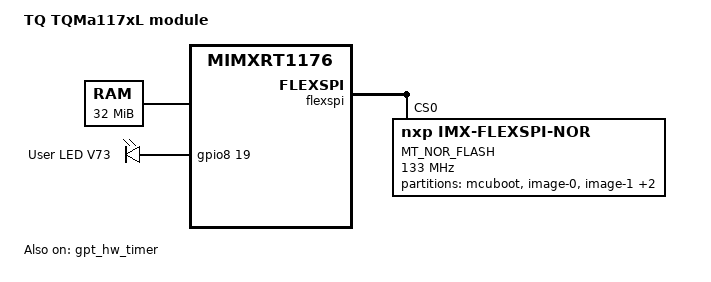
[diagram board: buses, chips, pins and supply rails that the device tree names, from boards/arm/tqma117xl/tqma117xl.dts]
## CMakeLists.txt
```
cmake_minimum_required(VERSION 3.20.0)

list(APPEND BOARD_ROOT ${CMAKE_CURRENT_SOURCE_DIR})
find_package(Zephyr REQUIRED HINTS $ENV{ZEPHYR_BASE})
project(tq-board)

FILE(GLOB app_sources src/*.c)
target_sources(app PRIVATE ${app_sources})
```

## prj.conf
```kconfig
CONFIG_GPIO=y
CONFIG_EXTRA_EXCEPTION_INFO=y
```

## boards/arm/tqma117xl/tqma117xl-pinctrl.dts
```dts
#include <nxp/nxp_imx/rt/mimxrt1176cvm8a-pinctrl.dtsi>

&pinctrl {
  pinmux_flexspi1: pinmux_flexspi1 {
    group0 {
      pinmux = <&iomuxc_gpio_ad_17_flexspi1_a_dqs>,
          <&iomuxc_gpio_ad_18_flexspi1_a_ss0_b>,
          <&iomuxc_gpio_ad_19_flexspi1_a_sclk>,
          <&iomuxc_gpio_ad_20_flexspi1_a_data00>,
          <&iomuxc_gpio_ad_21_flexspi1_a_data01>,
          <&iomuxc_gpio_ad_22_flexspi1_a_data02>,
          <&iomuxc_gpio_ad_23_flexspi1_a_data03>;
      bias-pull-down;
      input-enable;
    };
  };
};
```

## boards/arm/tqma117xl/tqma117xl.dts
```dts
/dts-v1/;

#include <nxp/nxp_rt1170_cm7.dtsi>
#include "tqma117xl-pinctrl.dts"

/ {
  model = "TQ TQMa117xL module";
  compatible = "nxp,mimxrt1176";

  aliases {
    led0 = &green_led;
  };

  chosen {
    zephyr,sram = &sdram0;
    zephyr,dtcm = &dtcm;
    zephyr,itcm = &itcm;
    zephyr,flash-controller = &mt_nor_flash;
    zephyr,flash = &mt_nor_flash;
    zephyr,code-partition = &slot0_partition;
  };

  sdram0: memory@80000000 {
    /* Winbond */
    device_type = "memory";
    reg = <0x80000000 DT_SIZE_M(32)>;
  };

  leds {
    compatible = "gpio-leds";
    green_led: led-1 {
      gpios = <&gpio8 19 GPIO_ACTIVE_HIGH>;
      label = "User LED V73";
    };
  };
};

&flexspi {
  pinctrl-0 = <&pinmux_flexspi1>;
  pinctrl-names = "default";

  status = "okay";
  ahb-prefetch;
  ahb-read-addr-opt;
  rx-clock-source = <1>;
  reg = <0x400cc000 0x4000>, <0x30000000 DT_SIZE_M(16)>;
  mt_nor_flash: mt_nor_flash@0 {
    compatible = "nxp,imx-flexspi-nor";
    label = "MT_NOR_FLASH";
    size = <0x2000000>;
    reg = <0>;
    spi-max-frequency = <133000000>;
    status = "okay";
    jedec-id = [20 bb 19];
    erase-block-size = <4096>;
    write-block-size = <1>;

    partitions {
      compatible = "fixed-partitions";
      #address-cells = <1>;
      #size-cells = <1>;

      boot_partition: partition@0 {
        label = "mcuboot";
        reg = <0x00000000 DT_SIZE_K(128)>;
      };
      slot0_partition: partition@20000 {
        label = "image-0";
        reg = <0x00020000 DT_SIZE_M(3)>;
      };
      slot1_partition: partition@320000 {
        label = "image-1";
        reg = <0x00320000 DT_SIZE_M(3)>;
      };
      scratch_partition: partition@620000 {
        label = "image-scratch";
        reg = <0x00620000 DT_SIZE_K(128)>;
      };
      storage_partition: partition@640000 {
        label = "storage";
        reg = <0x00640000 DT_SIZE_K(1856)>;
      };
    };
  };
};


&gpt_hw_timer {  // instead of systick
  status = "okay";
};

&green_led {
  status = "okay";
};
```

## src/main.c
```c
#include <zephyr/kernel.h>
#include <zephyr/drivers/gpio.h>

#define SLEEP_TIME_MS   1000
#define LED0_NODE DT_ALIAS(led0)

static const struct gpio_dt_spec led = GPIO_DT_SPEC_GET(LED0_NODE, gpios);

void main(void) {
  __asm__("nop\n\t");

  volatile int ret;

  if (!device_is_ready(led.port)) {
    return;
  }

  ret = gpio_pin_configure_dt(&led, GPIO_OUTPUT_ACTIVE);
  if (ret < 0) {
    return;
  }

  while (1) {
    __asm__("nop\n\t");
    ret = gpio_pin_toggle_dt(&led);
    if (ret < 0) {
      return;
    }
    k_msleep(SLEEP_TIME_MS);
    
  }
}
```
